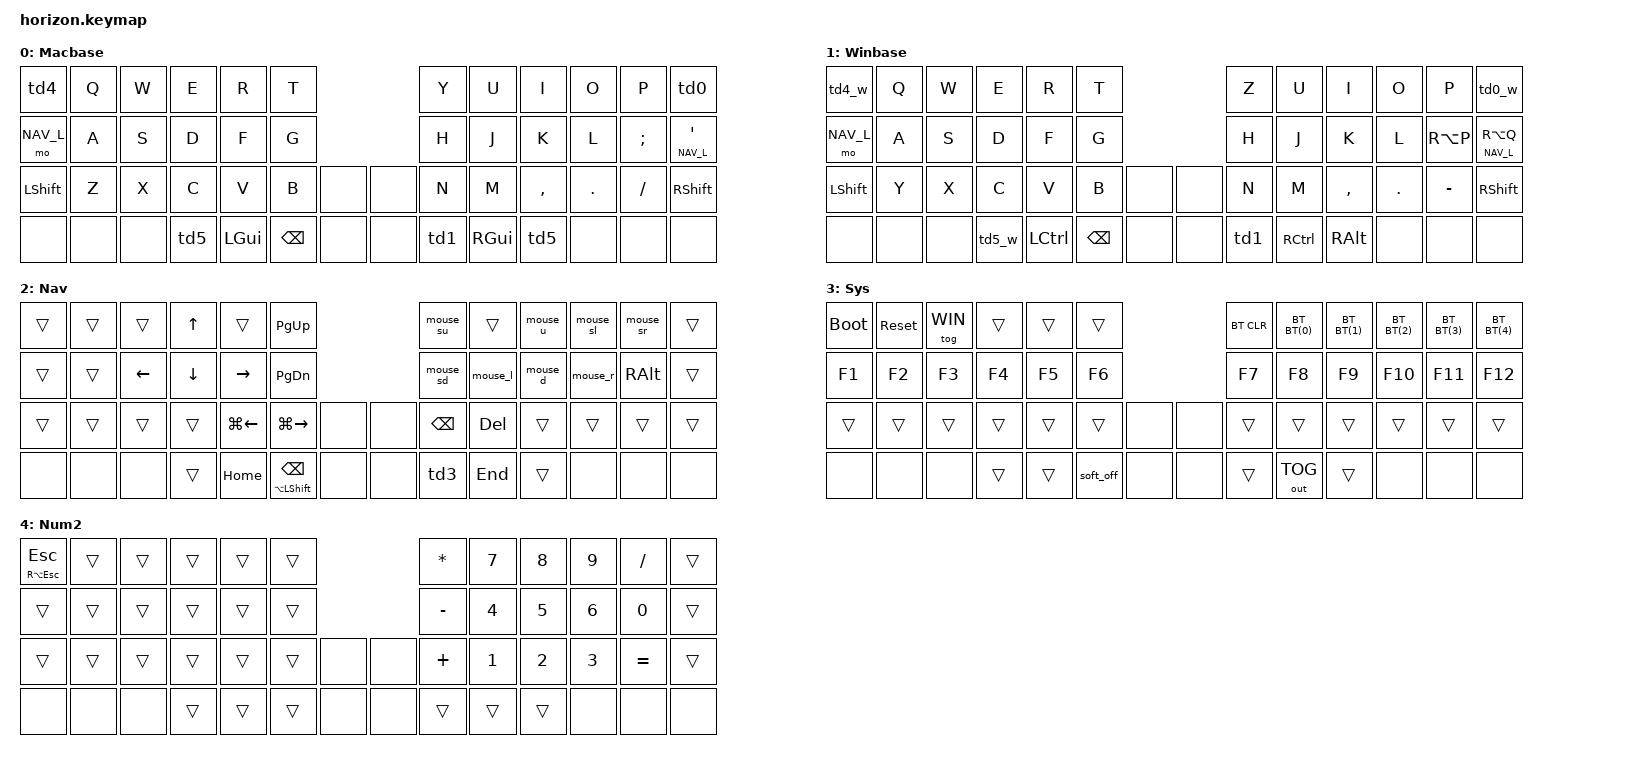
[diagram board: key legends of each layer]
/*
 * Copyright (c) 2022 Pete Johanson
 *
 * SPDX-License-Identifier: MIT
 */

// GLOBE as RA(ESC) via double tap + remapping in Karabiner / mouse pointer, scrolling and keys via remapping in Karabiner
// WIN-Layer oriented towards US INTL while MAC-Layer is DE

#include <behaviors.dtsi>
#include <dt-bindings/zmk/keys.h>
#include <dt-bindings/zmk/bt.h>
#include <dt-bindings/zmk/outputs.h>

#define MAC 0
#define WIN 1
#define NAV_L 2
#define SYS_L 3
#define NUM_R 4

// Using layer taps on thumbs, having quick tap as well helps w/ repeating space/backspace
&lt { quick_tap_ms = <200>; };

#define BT(n) BT_SEL n

/ {
  macros {
        mouse_l: mouse_l {
            compatible = "zmk,behavior-macro";
            #binding-cells = <0>;
            bindings
                = <&macro_press &kp CAPSLOCK>
		, <&macro_press &kp J>
		, <&macro_pause_for_release>
		, <&macro_release &kp J>
                , <&macro_release &kp CAPSLOCK>
                ;
        };
	mouse_u: mouse_u {
            compatible = "zmk,behavior-macro";
            #binding-cells = <0>;
            bindings
                = <&macro_press &kp CAPSLOCK>
		, <&macro_press &kp I>
		, <&macro_pause_for_release>
		, <&macro_release &kp I>
                , <&macro_release &kp CAPSLOCK>
                ;
        };
	mouse_d: mouse_d {
            compatible = "zmk,behavior-macro";
            #binding-cells = <0>;
            bindings
                = <&macro_press &kp CAPSLOCK>
		, <&macro_press &kp K>
		, <&macro_pause_for_release>
		, <&macro_release &kp K>
                , <&macro_release &kp CAPSLOCK>
                ;
        };
	mouse_r: mouse_r {
            compatible = "zmk,behavior-macro";
            #binding-cells = <0>;
            bindings
                = <&macro_press &kp CAPSLOCK>
		, <&macro_press &kp L>
		, <&macro_pause_for_release>
		, <&macro_release &kp L>
                , <&macro_release &kp CAPSLOCK>
                ;
        };
	mouse_sd: mouse_sd {
            compatible = "zmk,behavior-macro";
            #binding-cells = <0>;
            bindings
                = <&macro_press &kp CAPSLOCK>
		, <&macro_press &kp H>
		, <&macro_pause_for_release>
		, <&macro_release &kp H>
                , <&macro_release &kp CAPSLOCK>
                ;
        };
	mouse_su: mouse_su {
            compatible = "zmk,behavior-macro";
            #binding-cells = <0>;
            bindings
                = <&macro_press &kp CAPSLOCK>
		, <&macro_press &kp Y>
		, <&macro_pause_for_release>
		, <&macro_release &kp Y>
                , <&macro_release &kp CAPSLOCK>
                ;
        };
	mouse_sl: mouse_sl {
            compatible = "zmk,behavior-macro";
            #binding-cells = <0>;
            bindings
                = <&macro_press &kp CAPSLOCK>
		, <&macro_press &kp O>
		, <&macro_pause_for_release>
		, <&macro_release &kp O>
                , <&macro_release &kp CAPSLOCK>
                ;
        };
	mouse_sr: mouse_sr {
            compatible = "zmk,behavior-macro";
            #binding-cells = <0>;
            bindings
                = <&macro_press &kp CAPSLOCK>
		, <&macro_press &kp P>
		, <&macro_pause_for_release>
		, <&macro_release &kp P>
                , <&macro_release &kp CAPSLOCK>
                ;
        };
	mouse_lbtn: mouse_lbtn {
            compatible = "zmk,behavior-macro";
            #binding-cells = <0>;
            bindings
                = <&macro_press &kp CAPSLOCK>
		, <&macro_press &kp SPACE>
		, <&macro_pause_for_release>
		, <&macro_release &kp SPACE>
                , <&macro_release &kp CAPSLOCK>
                ;
        };
	mouse_rbtn: mouse_rbtn {
            compatible = "zmk,behavior-macro";
            #binding-cells = <0>;
            bindings
                = <&macro_press &kp CAPSLOCK>
		, <&macro_press &kp RGUI>
		, <&macro_pause_for_release>
		, <&macro_release &kp RGUI>
                , <&macro_release &kp CAPSLOCK>
                ;
        };
    };
    
    behaviors {
	td0: hyphen_tap_dance {
		compatible = "zmk,behavior-tap-dance";
		label = "TD_HYPHY";
		#binding-cells = <0>;
		tapping-term-ms = <200>;
		bindings = <&kp LBKT>, <&kp NON_US_HASH>;
	};
	td1: space_tap_dance {
		compatible = "zmk,behavior-tap-dance";
		label = "TD_SPACY";
		#binding-cells = <0>;
		tapping-term-ms = <200>;
		bindings = <&kp SPACE>, <&kp RET>;
	};
	td2: bksp_mod_tap_dance {
		compatible = "zmk,behavior-tap-dance";
		label = "TD_BACKSPACY";
		#binding-cells = <0>;
		tapping-term-ms = <200>;
		bindings = <&kp BKSP>, <&mt RA(ESC) ESC>;
	};
	td3: mousebutton_tap_dance {
		compatible = "zmk,behavior-tap-dance";
		label = "TD_MOUSY";
		#binding-cells = <0>;
		tapping-term-ms = <200>;
		bindings = <&mouse_lbtn>, <&mouse_rbtn>;
	};
	td4: windowswitch_tap_dance {
		compatible = "zmk,behavior-tap-dance";
		label = "TD_SWITCHY";
		#binding-cells = <0>;
		tapping-term-ms = <200>;
		bindings = <&kp TAB>, <&kp LG(LS(EQUAL))>;
	};
	td5: option_control {
		compatible = "zmk,behavior-tap-dance";
		label = "TD_OPTCONT";
		#binding-cells = <0>;
		tapping-term-ms = <200>;
		bindings = <&kp LALT>, <&kp LCTRL>;
	};
	par: paranthesis_tap_dance {
		compatible = "zmk,behavior-tap-dance";
		label = "TD_PAR";
		#binding-cells = <0>;
		tapping-term-ms = <200>;
		bindings = <&kp LS(N8)>, <&kp LS(N9)>;
	};
	sqr: sqrbracket_tap_dance {
		compatible = "zmk,behavior-tap-dance";
		label = "TD_SQR";
		#binding-cells = <0>;
		tapping-term-ms = <200>;
		bindings = <&kp LA(N5)>, <&kp LA(N6)>;
	};
	ptd: ptdbracket_tap_dance {
		compatible = "zmk,behavior-tap-dance";
		label = "TD_PTD";
		#binding-cells = <0>;
		tapping-term-ms = <200>;
		bindings = <&kp GRAVE>, <&kp LS(GRAVE)>;
	};
	crly: crlybracket_tap_dance {
		compatible = "zmk,behavior-tap-dance";
		label = "TD_CRLY";
		#binding-cells = <0>;
		tapping-term-ms = <200>;
		bindings = <&kp LA(N8)>, <&kp LA(N9)>;
	};
	accent: accent_tap_dance {
		compatible = "zmk,behavior-tap-dance";
		label = "TD_ACNT";
		#binding-cells = <0>;
		tapping-term-ms = <200>;
		bindings = <&kp LS(EQUAL)>, <&kp EQUAL>;
	};
	td0_w: hyphen_tap_dance_w {
		compatible = "zmk,behavior-tap-dance";
		label = "TD_HYPHY_w";
		#binding-cells = <0>;
		tapping-term-ms = <200>;
		bindings = <&kp RA(Y)>, <&kp RA(S)>;
	};
	td4_w: windowswitch_tap_dance_w {
		compatible = "zmk,behavior-tap-dance";
		label = "TD_SWITCHY_w";
		#binding-cells = <0>;
		tapping-term-ms = <200>;
		bindings = <&kp TAB>, <&kp LG(GRAVE)>;
	};
	td5_w: alt_win {
		compatible = "zmk,behavior-tap-dance";
		label = "TD_ALTWIN";
		#binding-cells = <0>;
		tapping-term-ms = <200>;
		bindings = <&kp LALT>, <&kp LGUI>;
	};
	par_w: parenthesis_tap_dance_w {
		compatible = "zmk,behavior-tap-dance";
		label = "TD_PAR_w";
		#binding-cells = <0>;
		tapping-term-ms = <200>;
		bindings = <&kp LPAR>, <&kp RPAR>;
	};
	sqr_w: sqrbracket_tap_dance_w {
		compatible = "zmk,behavior-tap-dance";
		label = "TD_SQR_w";
		#binding-cells = <0>;
		tapping-term-ms = <200>;
		bindings = <&kp LBKT>, <&kp RBKT>;
	};
	ptd_w: ptdbracket_tap_dance_w {
		compatible = "zmk,behavior-tap-dance";
		label = "TD_PTD_w";
		#binding-cells = <0>;
		tapping-term-ms = <200>;
		bindings = <&kp LESS_THAN>, <&kp GREATER_THAN>;
	};
	crly_w: crlybracket_tap_dance_w {
		compatible = "zmk,behavior-tap-dance";
		label = "TD_CRLY_w";
		#binding-cells = <0>;
		tapping-term-ms = <200>;
		bindings = <&kp LBRC>, <&kp RBRC>;
	};
	accent_w: accent_tap_dance_w {
		compatible = "zmk,behavior-tap-dance";
		label = "TD_ACNT_w";
		#binding-cells = <0>;
		tapping-term-ms = <200>;
		bindings = <&kp GRAVE>, <&kp LS(GRAVE)>;
	};
    };

  combos {
        compatible = "zmk,combos";
	combo_sys {
            timeout-ms = <50>;
            key-positions = <37 48>;
            bindings = <&mo SYS_L>;
	    layers = <0 1>;
        };
	combo_num {
            timeout-ms = <50>;
            key-positions = <46 47>;
            bindings = <&mo NUM_R>;
	    layers = <0 1>;
        };
	combo_ret {
            timeout-ms = <50>;
            key-positions = <19 22>;
            bindings = <&kp RET>;
	    layers = <0 1>;
        };
	combo_esc {
	    layers = <0 1>;
            timeout-ms = <50>;
            key-positions = <13 16>;
            bindings = <&mt RA(ESC) ESC>;
        };
	combo_capsword {
            timeout-ms = <50>;
            key-positions = <24 37>;
            bindings = <&caps_word>;
	    layers = <0 1>;
        };
	combo_backword {
            timeout-ms = <50>;
            key-positions = <43 46>;
            bindings = <&kp LA(BKSP)>;
	    layers = <0>;
        };
	combo_snglqt {
            timeout-ms = <50>;
            key-positions = <5 6>;
            bindings = <&kp LS(BSLH)>;
	    layers = <0>;
        };
	combo_slsh {
            timeout-ms = <50>;
            key-positions = <7 8>;
            bindings = <&kp LS(N7)>;
	    layers = <0>;
        };
	combo_vert {
            timeout-ms = <50>;
            key-positions = <8 9>;
            bindings = <&kp LA(N7)>;
	    layers = <0>;
        };
	combo_bkslsh {
            timeout-ms = <50>;
            key-positions = <9 10>;
            bindings = <&kp LA(LS(N7))>;
	    layers = <0>;
        };
	combo_deg {
            timeout-ms = <50>;
            key-positions = <12 13>;
            bindings = <&kp LS(NUBS)>;
	    layers = <0>;
        };
	combo_star {
            timeout-ms = <50>;
            key-positions = <14 15>;
            bindings = <&kp LS(RBKT)>;
	    layers = <0>;
        };
	combo_plus {
            timeout-ms = <50>;
            key-positions = <15 16>;
            bindings = <&kp RBKT>;
	    layers = <0>;
        };
	combo_dblqt {
            timeout-ms = <50>;
            key-positions = <17 18>;
            bindings = <&kp LS(N2)>;
	    layers = <0>;
        };
	combo_par {
            timeout-ms = <50>;
            key-positions = <19 20>;
            bindings = <&par>;
	    layers = <0>;
        };
	combo_sqr {
            timeout-ms = <50>;
            key-positions = <20 21>;
            bindings = <&sqr>;
	    layers = <0>;
        };
	combo_ptd {
            timeout-ms = <50>;
            key-positions = <21 22>;
            bindings = <&ptd>;
	    layers = <0>;
        };
	combo_crly {
            timeout-ms = <50>;
            key-positions = <22 23>;
            bindings = <&crly>;
	    layers = <0>;
        };
	combo_circ {
            timeout-ms = <50>;
            key-positions = <24 25>;
            bindings = <&kp NUBS>;
	    layers = <0>;
        };
	combo_prct {
            timeout-ms = <50>;
            key-positions = <25 26>;
            bindings = <&kp LS(N5)>;
	    layers = <0>;
        };
	combo_hash {
            timeout-ms = <50>;
            key-positions = <26 27>;
            bindings = <&kp BSLH>;
	    layers = <0>;
        };
	combo_amprsnd {
            timeout-ms = <50>;
            key-positions = <27 28>;
            bindings = <&kp LS(N6)>;
	    layers = <0>;
        };
	combo_acnt {
            timeout-ms = <50>;
            key-positions = <29 32>;
            bindings = <&accent>;
	    layers = <0>;
        };
	combo_em {
            timeout-ms = <50>;
            key-positions = <33 34>;
            bindings = <&kp LA(SLASH)>;
	    layers = <0>;
        };
	combo_excl {
            timeout-ms = <50>;
            key-positions = <34 35>;
            bindings = <&kp LS(N1)>; 
	    layers = <0>;
        };
	combo_qstn {
            timeout-ms = <50>;
            key-positions = <35 36>;
            bindings = <&kp LS(NUHS)>;
	    layers = <0>;
        };
	combo_eqls {
            timeout-ms = <50>;
            key-positions = <36 37>;
            bindings = <&kp LS(N0)>;
	    layers = <0>;
        };

	combo_backword_w {
            timeout-ms = <50>;
            key-positions = <43 46>;
            bindings = <&kp LC(BKSP)>;
	    layers = <1>;
        };
	combo_snglqt_w {
	    layers = <1>;
            timeout-ms = <50>;
            key-positions = <5 6>;
            bindings = <&kp APOS>;
        };
	combo_slsh_w {
	    layers = <1>;
            timeout-ms = <50>;
            key-positions = <7 8>;
            bindings = <&kp SLASH>;
        };
	combo_vert_w {
	    layers = <1>;
            timeout-ms = <50>;
            key-positions = <8 9>;
	    bindings = <&kp PIPE>;
        };
	combo_bkslsh_w {
	    layers = <1>;
            timeout-ms = <50>;
            key-positions = <9 10>;
            bindings = <&kp BSLH>;
        };
	combo_deg_w {
	    layers = <1>;
            timeout-ms = <50>;
            key-positions = <12 13>;
            bindings = <&kp LS(NUBS)>;
        };
	combo_star_w {
	    layers = <1>;
            timeout-ms = <50>;
            key-positions = <14 15>;
            bindings = <&kp ASTRK>;
        };
	combo_plus_w {
	    layers = <1>;
            timeout-ms = <50>;
            key-positions = <15 16>;
            bindings = <&kp PLUS>;
        };
	combo_dblqt_w {
	    layers = <1>;
            timeout-ms = <50>;
            key-positions = <17 18>;
            bindings = <&kp DQT>;
        };
	combo_par_w {
	    layers = <1>;
            timeout-ms = <50>;
            key-positions = <19 20>;
            bindings = <&par_w>;
        };
	combo_sqr_w {
	    layers = <1>;
            timeout-ms = <50>;
            key-positions = <20 21>;
            bindings = <&sqr_w>;
        };
	combo_ptd_w {
	    layers = <1>;
            timeout-ms = <50>;
            key-positions = <21 22>;
            bindings = <&ptd_w>;
        };
	combo_crly_w {
	    layers = <1>;
            timeout-ms = <50>;
            key-positions = <22 23>;
            bindings = <&crly_w>;
        };
	combo_circ_w {
	    layers = <1>;
            timeout-ms = <50>;
            key-positions = <24 25>;
            bindings = <&kp CARET>;
        };
	combo_prct_w {
	    layers = <1>;
            timeout-ms = <50>;
            key-positions = <25 26>;
            bindings = <&kp PERCENT>;
        };
	combo_hash_w {
	    layers = <1>;
            timeout-ms = <50>;
            key-positions = <26 27>;
            bindings = <&kp HASH>;
        };
	combo_amprsnd_w {
	    layers = <1>;
            timeout-ms = <50>;
            key-positions = <27 28>;
            bindings = <&kp AMPS>;
        };
	combo_acnt_w {
	    layers = <1>;
            timeout-ms = <50>;
            key-positions = <29 32>;
            bindings = <&accent_w>;
        };
	combo_em_w {
	    layers = <1>;
            timeout-ms = <50>;
            key-positions = <33 34>;
            bindings = <&kp LA(MINUS)>;
        };
	combo_excl_w {
	    layers = <1>;
            timeout-ms = <50>;
            key-positions = <34 35>;
            bindings = <&kp EXCL>;
        };
	combo_qstn_w {
	    layers = <1>;
            timeout-ms = <50>;
            key-positions = <35 36>;
            bindings = <&kp QMARK>;
        };
	combo_eqls_w {
	    layers = <1>;
            timeout-ms = <50>;
            key-positions = <36 37>;
            bindings = <&kp EQUAL>;
        };

// numbers combos
	combo_seven {
            timeout-ms = <50>;
            key-positions = <4 7>;
            bindings = <&kp N7>;
        };
	combo_eight {
            timeout-ms = <50>;
            key-positions = <3 8>;
            bindings = <&kp N8>;
        };
	combo_nine {
            timeout-ms = <50>;
            key-positions = <2 9>;
            bindings = <&kp N9>;
        };
	combo_zerotop {
            timeout-ms = <50>;
            key-positions = <1 10>;
            bindings = <&kp N0>;
        };
	combo_four {
            timeout-ms = <50>;
            key-positions = <16 19>;
            bindings = <&kp N4>;
        };
	combo_five {
            timeout-ms = <50>;
            key-positions = <15 20>;
            bindings = <&kp N5>;
        };
	combo_six {
            timeout-ms = <50>;
            key-positions = <14 21>;
            bindings = <&kp N6>;
        };
	combo_zeromiddle {
            timeout-ms = <50>;
            key-positions = <13 22>;
            bindings = <&kp N0>;
        };
	combo_one {
            timeout-ms = <50>;
            key-positions = <28 33>;
            bindings = <&kp N1>;
        };
	combo_two {
            timeout-ms = <50>;
            key-positions = <27 34>;
            bindings = <&kp N2>;
        };
	combo_three {
            timeout-ms = <50>;
            key-positions = <26 35>;
            bindings = <&kp N3>;
        };
	combo_zerobottom {
            timeout-ms = <50>;
            key-positions = <25 36>;
            bindings = <&kp N0>;
        };
    };

    keymap {
        compatible = "zmk,keymap";
        macbase_layer {
            label = "Macbase";
            bindings = <
 &td4    	&kp Q   &kp W      &kp E      &kp R       &kp T                   &kp Y    &kp U       &kp I       &kp O      &kp P      &td0
 &mo NAV_L  	&kp A   &kp S      &kp D      &kp F       &kp G                   &kp H    &kp J       &kp K       &kp L      &kp SEMI  &lt NAV_L QUOT
 &kp LSHFT  	&kp Z   &kp X      &kp C      &kp V       &kp B    &none &none    &kp N    &kp M       &kp COMMA   &kp DOT    &kp FSLH  &kp RSHIFT
 &none      	&none   &none      &td5       &kp LGUI 	  &kp BKSP &none &none    &td1     &kp RGUI    &td5   	   &none      &none 	 &none 
            >;
        };

	winbase_layer {
            label = "Winbase";
            bindings = <
 &td4_w    	&kp Q   &kp W      &kp E      &kp R       &kp T                   &kp Z    &kp U       &kp I       &kp O      &kp P      &td0_w
 &mo NAV_L  	&kp A   &kp S      &kp D      &kp F       &kp G                   &kp H    &kp J       &kp K       &kp L      &kp RA(P)  &lt NAV_L RA(Q)
 &kp LSHFT  	&kp Y   &kp X      &kp C      &kp V       &kp B    &none &none    &kp N    &kp M       &kp COMMA   &kp DOT    &kp MINUS  &kp RSHIFT
 &none      	&none   &none      &td5_w   &kp LCTRL     &kp BKSP &none &none    &td1     &kp RCTRL    &kp RALT   	   &none      &none 	 &none 
            >;
        };

        nav_layer {
            label = "Nav";
            bindings = <
&trans	   &trans     &trans     &kp UP      &trans             &kp PG_UP                  &mouse_su     &trans       &mouse_u      &mouse_sl  &mouse_sr  &trans
&trans     &trans     &kp LEFT   &kp DOWN    &kp RIGHT          &kp PG_DN                  &mouse_sd     &mouse_l     &mouse_d      &mouse_r   &kp RALT   &trans
&trans     &trans     &trans  	 &trans      &kp LG(LEFT)       &kp LG(RIGHT) &none &none  &kp BKSP      &kp DEL      &trans        &trans     &trans     &trans
&none      &none      &none      &trans      &kp HOME	&mt LA(LSHIFT) BKSP   &none &none  &td3          &kp END      &trans        &none      &none      &none 
            >;
        };

        sys_layer {
            label = "Sys";
            bindings = <
&bootloader  &sys_reset  &tog WIN 	&trans 	&trans    &trans              	&bt BT_CLR    	&bt BT(0)  	&bt BT(1)   &bt BT(2)    &bt BT(3)  &bt BT(4)
&kp F1       &kp F2   	 &kp F3 	&kp F4 	&kp F5    &kp F6               	&kp F7    	&kp F8     	&kp F9      &kp F10      &kp F11    &kp F12
&trans       &trans	 &trans 	&trans 	&trans    &trans     &none &none  &trans    	&trans	 	&trans      &trans       &trans     &trans
&none        &none  	 &none  	&trans  &trans    &soft_off   &none &none  &trans    	&out OUT_TOG  	&trans      &none        &none      &none 
            >;
        };

num2_layer {
            label = "Num2";
            bindings = <
&mt RA(ESC) ESC &trans  &trans 	&trans 	&trans    &trans             	 &kp ASTRK	&kp N7     &kp N8      &kp N9       &kp SLASH 	&trans
&trans     	&trans	&trans 	&trans 	&trans    &trans                 &kp MINUS  	&kp N4     &kp N5      &kp N6       &kp N0     	&trans
&trans     	&trans	&trans 	&trans 	&trans    &trans  &none &none    &kp PLUS    	&kp N1     &kp N2      &kp N3       &kp EQUAL 	&trans
&none       	&none   &none   &trans  &trans    &trans  &none &none    &trans       	&trans     &trans     &none         &none       &none 
            >;
        };

    };
};
